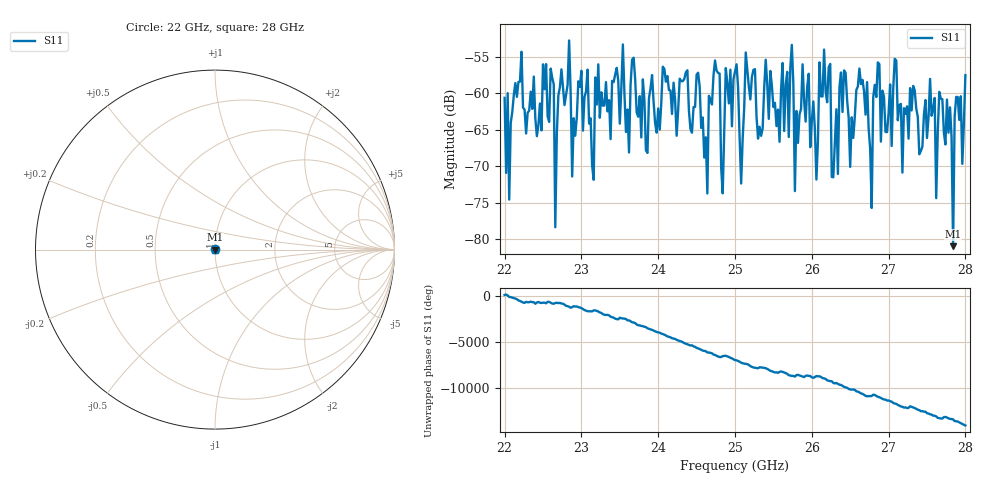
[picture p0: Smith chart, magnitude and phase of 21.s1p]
#  HZ  S  RI  R  50.00
! Rohde & Schwarz ZVA40 4Ports - Version 3.90 - 1145.1110k42 SN: 100403
! Date: 2023-10-04 11:38:02
! Measurement: S12
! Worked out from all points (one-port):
!   301 points, 22 GHz to 28 GHz, reference 50 ohm
!   lowest |S11| = -81.0 dB at 27.84 GHz (marker M1), VSWR 1.00, Z = 50 - j0.00416 ohm
!   |S11| at or under -10 dB: start of sweep to end of sweep
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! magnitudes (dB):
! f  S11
! 22 GHz  -60.7
! 22.06 GHz  -74.6
! 22.22 GHz  -54.3
! 22.6 GHz  -56.6
! 22.66 GHz  -78.4
! 22.76 GHz  -59.3
! 23.5 GHz  -64.2
! 24.26 GHz  -62.3
! 24.52 GHz  -57.2
! 24.64 GHz  -73.7
! 24.74 GHz  -55.5
! 24.84 GHz  -73.7
! 24.88 GHz  -56.6
! 25 GHz  -57.0
! 25.08 GHz  -72.4
! 25.14 GHz  -54.4
! 25.76 GHz  -58.8
! 25.78 GHz  -73.4
! 26.16 GHz  -54.0
! 26.5 GHz  -70.1
! 26.62 GHz  -56.6
! 26.78 GHz  -75.7
! 26.86 GHz  -55.8
! 27.26 GHz  -66.2
! 27.76 GHz  -60.9
! 27.84 GHz  -81.0
! 27.86 GHz  -63.2
! 28 GHz  -57.5
